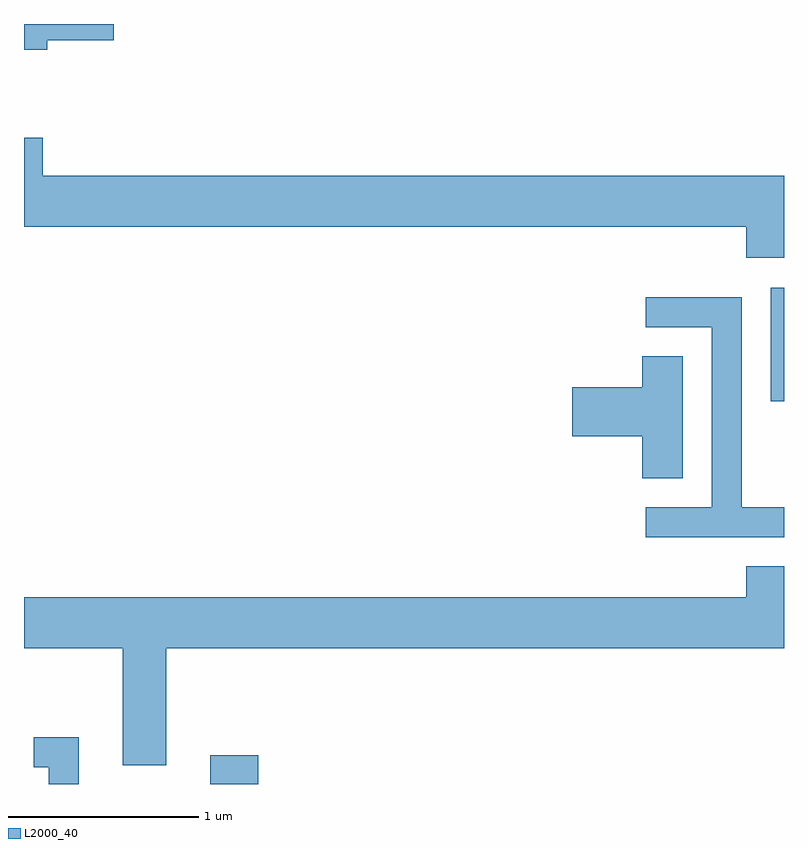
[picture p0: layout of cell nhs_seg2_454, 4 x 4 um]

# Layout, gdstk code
import gdstk
lib = gdstk.Library(unit=1e-6, precision=1e-09)
def R(c, l, rs):  # rectangles x0, y0, x1, y1
    for r in rs: c.add(gdstk.rectangle(r[:2], r[2:], *l))
def P(c, l, *ps):  # polygons
    for p in ps: c.add(gdstk.Polygon(p, *l))
L2000_40 = (2000, 40)

nhs_seg2_454 = lib.new_cell('nhs_seg2_454')
R(nhs_seg2_454, L2000_40, [(198.591,1069.802,198.844,1069.954), (201.541,1071.816,201.611,1072.414)])
P(nhs_seg2_454, L2000_40, [(197.734,1073.716),(198.084,1073.716),(198.084,1073.802),(197.611,1073.802),(197.611,1073.666),(197.734,1073.666)],
  [(201.611,1073.004),(197.709,1073.004),(197.709,1073.204),(197.611,1073.204),(197.611,1072.736),(201.411,1072.736),(201.411,1072.571),(201.611,1072.571)],
  [(201.611,1071.259),(201.389,1071.259),(201.389,1072.364),(200.883,1072.364),(200.883,1072.206),(201.231,1072.206),(201.231,1071.259),(200.883,1071.259),(200.883,1071.101),(201.611,1071.101)],
  [(201.079,1072.054),(200.866,1072.054),(200.866,1071.889),(200.496,1071.889),(200.496,1071.631),(200.866,1071.631),(200.866,1071.411),(201.079,1071.411)],
  [(198.359,1070.516),(201.611,1070.516),(201.611,1070.949),(201.411,1070.949),(201.411,1070.784),(197.611,1070.784),(197.611,1070.516),(198.131,1070.516),(198.131,1069.901),(198.359,1069.901)],
  [(197.899,1070.049),(197.663,1070.049),(197.663,1069.891),(197.741,1069.891),(197.741,1069.802),(197.899,1069.802)])

lib.write_gds('nhs_seg2_454.gds')
